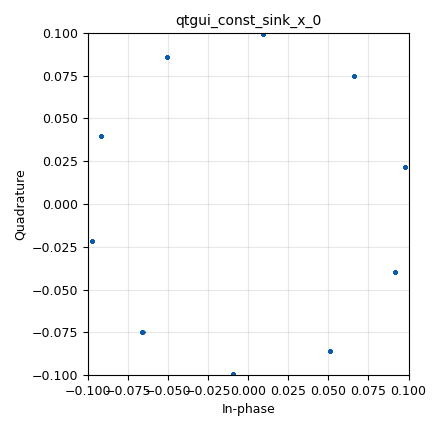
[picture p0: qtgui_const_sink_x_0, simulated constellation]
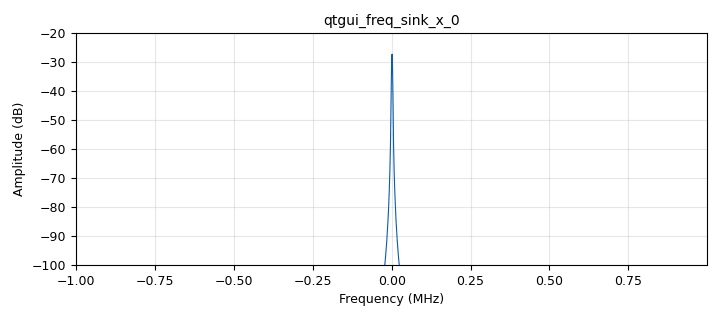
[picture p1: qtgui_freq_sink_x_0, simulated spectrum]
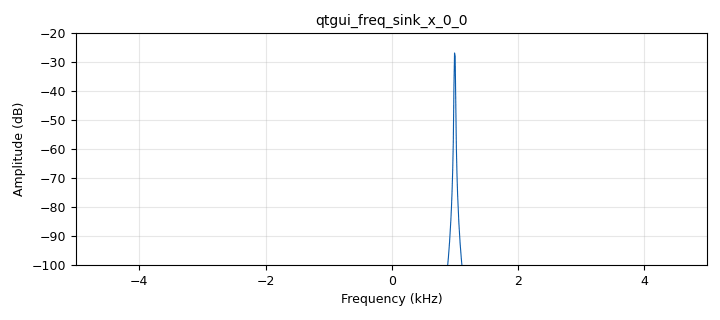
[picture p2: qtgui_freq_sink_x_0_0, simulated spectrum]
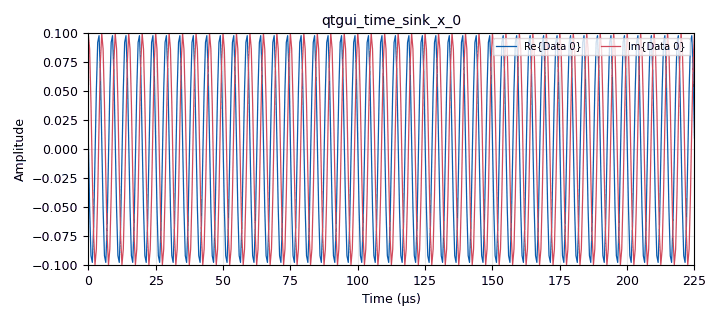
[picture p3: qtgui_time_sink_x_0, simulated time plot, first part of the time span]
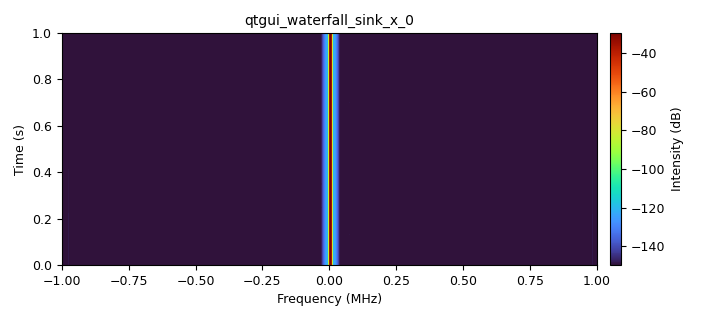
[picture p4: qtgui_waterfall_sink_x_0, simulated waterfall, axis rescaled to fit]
<?xml version='1.0' encoding='utf-8'?>
<?grc format='1' created='3.7.13'?>
<flow_graph>
<block>
<key>options</key>
<param><key>id</key><value>rx_narrow_host</value></param>
<param><key>author</key><value>Spiro Sarris</value></param>
<param><key>description</key><value>Observe wide spectrum. Select frequency. Record narrow channel</value></param>
<param><key>generate_options</key><value>qt_gui</value></param>
<param><key>title</key><value>RX Narrowband Receiver</value></param>
</block>
<block>
<key>variable</key>
<param><key>id</key><value>client_address</value></param>
<param><key>value</key><value>"192.168.10.184"</value></param>
</block>
<block>
<key>variable</key>
<param><key>id</key><value>data_seconds</value></param>
<param><key>value</key><value>30</value></param>
</block>
<block>
<key>variable</key>
<param><key>id</key><value>fft_size</value></param>
<param><key>value</key><value>1024</value></param>
</block>
<block>
<key>variable_qtgui_range</key>
<param><key>id</key><value>freq</value></param>
<param><key>value</key><value>407.2e6</value></param>
<param><key>gui_hint</key><value>tabs@0:0,0,1,1</value></param>
<param><key>label</key><value>RF Freq</value></param>
<param><key>min_len</key><value>100</value></param>
<param><key>orient</key><value>Qt.Vertical</value></param>
<param><key>start</key><value>100e6</value></param>
<param><key>step</key><value>1e6</value></param>
<param><key>stop</key><value>6000e6</value></param>
</block>
<block>
<key>variable_qtgui_range</key>
<param><key>id</key><value>freq_select</value></param>
<param><key>value</key><value>0</value></param>
<param><key>gui_hint</key><value>tabs@0:0,2,1,1</value></param>
<param><key>label</key><value>Frequency Select</value></param>
<param><key>min_len</key><value>100</value></param>
<param><key>orient</key><value>Qt.Vertical</value></param>
<param><key>start</key><value>-1*(samp_rate/2)</value></param>
<param><key>step</key><value>samp_rate/n_channels/10</value></param>
<param><key>stop</key><value>1*(samp_rate/2)</value></param>
</block>
<block>
<key>variable</key>
<param><key>id</key><value>n_channels</value></param>
<param><key>value</key><value>200</value></param>
</block>
<block>
<key>variable_qtgui_range</key>
<param><key>id</key><value>rx_gain</value></param>
<param><key>value</key><value>50</value></param>
<param><key>gui_hint</key><value>tabs@0:0,1,1,1</value></param>
<param><key>label</key><value>RX Gain</value></param>
<param><key>min_len</key><value>100</value></param>
<param><key>orient</key><value>Qt.Vertical</value></param>
<param><key>start</key><value>0</value></param>
<param><key>step</key><value>1</value></param>
<param><key>stop</key><value>80</value></param>
</block>
<block>
<key>variable</key>
<param><key>id</key><value>samp_rate</value></param>
<param><key>value</key><value>2e6</value></param>
</block>
<block>
<key>variable_tag_object</key>
<param><key>id</key><value>variable_tag_object_0</value></param>
<param><key>key</key><value>pmt.intern("key")</value></param>
<param><key>offset</key><value>0</value></param>
<param><key>src</key><value>pmt.intern("src")</value></param>
<param><key>value</key><value>pmt.intern("value")</value></param>
</block>
<block>
<key>variable</key>
<param><key>id</key><value>vec_length</value></param>
<param><key>value</key><value>1</value></param>
</block>
<block>
<key>analog_sig_source_x</key>
<param><key>id</key><value>analog_sig_source_x_0</value></param>
<param><key>amp</key><value>1</value></param>
<param><key>freq</key><value>-1*freq_select</value></param>
<param><key>offset</key><value>0</value></param>
<param><key>type</key><value>complex</value></param>
<param><key>samp_rate</key><value>samp_rate</value></param>
<param><key>waveform</key><value>analog.GR_COS_WAVE</value></param>
</block>
<block>
<key>analog_sig_source_x</key>
<param><key>id</key><value>analog_sig_source_x_1</value></param>
<param><key>amp</key><value>1e-1</value></param>
<param><key>freq</key><value>1000</value></param>
<param><key>offset</key><value>0</value></param>
<param><key>type</key><value>complex</value></param>
<param><key>samp_rate</key><value>samp_rate</value></param>
<param><key>waveform</key><value>analog.GR_COS_WAVE</value></param>
</block>
<block>
<key>blocks_file_sink</key>
<param><key>id</key><value>blocks_file_sink_0</value></param>
<param><key>file</key><value>"./data/"+datetime.datetime.utcnow().strftime("%Y%m%d_%H%M%S")+"_UTC.iq"</value></param>
<param><key>type</key><value>complex</value></param>
</block>
<block>
<key>blocks_head</key>
<param><key>id</key><value>blocks_head_0</value></param>
<param><key>num_items</key><value>int(data_seconds*samp_rate/n_channels)</value></param>
<param><key>type</key><value>complex</value></param>
</block>
<block>
<key>blocks_multiply_xx</key>
<param><key>id</key><value>blocks_multiply_xx_0</value></param>
<param><key>type</key><value>complex</value></param>
</block>
<block>
<key>blocks_throttle</key>
<param><key>id</key><value>blocks_throttle_0</value></param>
<param><key>samples_per_second</key><value>samp_rate</value></param>
<param><key>type</key><value>complex</value></param>
</block>
<block>
<key>import</key>
<param><key>id</key><value>import_0</value></param>
<param><key>import</key><value>import numpy as np</value></param>
</block>
<block>
<key>import</key>
<param><key>id</key><value>import_1</value></param>
<param><key>import</key><value>import ettus</value></param>
</block>
<block>
<key>import</key>
<param><key>id</key><value>import_2</value></param>
<param><key>import</key><value>import time</value></param>
</block>
<block>
<key>import</key>
<param><key>id</key><value>import_3</value></param>
<param><key>import</key><value>import datetime</value></param>
</block>
<block>
<key>qtgui_const_sink_x</key>
<param><key>id</key><value>qtgui_const_sink_x_0</value></param>
<param><key>gui_hint</key><value>tabs@0:2,1,1,1</value></param>
<param><key>grid</key><value>True</value></param>
<param><key>size</key><value>fft_size</value></param>
<param><key>type</key><value>complex</value></param>
<param><key>xmax</key><value>0.1</value></param>
<param><key>xmin</key><value>-0.1</value></param>
<param><key>ymax</key><value>0.1</value></param>
<param><key>ymin</key><value>-0.1</value></param>
</block>
<block>
<key>qtgui_freq_sink_x</key>
<param><key>id</key><value>qtgui_freq_sink_x_0</value></param>
<param><key>bw</key><value>samp_rate</value></param>
<param><key>fc</key><value>0</value></param>
<param><key>fftsize</key><value>fft_size</value></param>
<param><key>gui_hint</key><value>tabs@0:1,0,1,1</value></param>
<param><key>grid</key><value>True</value></param>
<param><key>legend</key><value>False</value></param>
<param><key>showports</key><value>True</value></param>
<param><key>type</key><value>complex</value></param>
<param><key>update_time</key><value>0.1</value></param>
<param><key>wintype</key><value>firdes.WIN_HANN</value></param>
<param><key>label</key><value>Amplitude</value></param>
<param><key>ymax</key><value>-20</value></param>
<param><key>ymin</key><value>-100</value></param>
</block>
<block>
<key>qtgui_freq_sink_x</key>
<param><key>id</key><value>qtgui_freq_sink_x_0_0</value></param>
<param><key>bw</key><value>samp_rate/n_channels</value></param>
<param><key>fc</key><value>0</value></param>
<param><key>fftsize</key><value>fft_size</value></param>
<param><key>gui_hint</key><value>tabs@0:1,1,1,1</value></param>
<param><key>grid</key><value>True</value></param>
<param><key>legend</key><value>False</value></param>
<param><key>showports</key><value>True</value></param>
<param><key>type</key><value>complex</value></param>
<param><key>update_time</key><value>0.1</value></param>
<param><key>wintype</key><value>firdes.WIN_HANN</value></param>
<param><key>label</key><value>Amplitude</value></param>
<param><key>ymax</key><value>-20</value></param>
<param><key>ymin</key><value>-100</value></param>
</block>
<block>
<key>qtgui_time_sink_x</key>
<param><key>id</key><value>qtgui_time_sink_x_0</value></param>
<param><key>gui_hint</key><value>tabs@0:1,2,1,1</value></param>
<param><key>color1</key><value>"blue"</value></param>
<param><key>label1</key><value></value></param>
<param><key>color2</key><value>"red"</value></param>
<param><key>label2</key><value></value></param>
<param><key>size</key><value>fft_size</value></param>
<param><key>srate</key><value>samp_rate</value></param>
<param><key>type</key><value>complex</value></param>
<param><key>ymax</key><value>0.1</value></param>
<param><key>ymin</key><value>-0.1</value></param>
</block>
<block>
<key>qtgui_waterfall_sink_x</key>
<param><key>id</key><value>qtgui_waterfall_sink_x_0</value></param>
<param><key>bw</key><value>samp_rate</value></param>
<param><key>fc</key><value>0</value></param>
<param><key>fftsize</key><value>fft_size</value></param>
<param><key>gui_hint</key><value>tabs@0:2,0,1,1</value></param>
<param><key>int_max</key><value>-40</value></param>
<param><key>int_min</key><value>-100</value></param>
<param><key>color1</key><value>3</value></param>
<param><key>showports</key><value>True</value></param>
<param><key>type</key><value>complex</value></param>
<param><key>wintype</key><value>firdes.WIN_BLACKMAN_hARRIS</value></param>
</block>
<block>
<key>rational_resampler_xxx</key>
<param><key>id</key><value>rational_resampler_xxx_0</value></param>
<param><key>decim</key><value>n_channels</value></param>
<param><key>interp</key><value>1</value></param>
<param><key>taps</key><value></value></param>
<param><key>type</key><value>ccc</value></param>
</block>
<block>
<key>qtgui_tab_widget</key>
<param><key>id</key><value>tabs</value></param>
<param><key>gui_hint</key><value>0,0,1,2</value></param>
<param><key>label0</key><value>Real-Time Display</value></param>
<param><key>num_tabs</key><value>1</value></param>
</block>
<block>
<key>xmlrpc_client</key>
<param><key>id</key><value>xmlrpc_client0</value></param>
<param><key>addr</key><value>str(client_address)</value></param>
<param><key>callback</key><value>set_rx_gain</value></param>
<param><key>port</key><value>30000</value></param>
<param><key>variable</key><value>rx_gain</value></param>
</block>
<block>
<key>xmlrpc_client</key>
<param><key>id</key><value>xmlrpc_client0_0</value></param>
<param><key>addr</key><value>str(client_address)</value></param>
<param><key>callback</key><value>set_freq</value></param>
<param><key>port</key><value>30000</value></param>
<param><key>variable</key><value>freq</value></param>
</block>
<block>
<key>zeromq_pull_source</key>
<param><key>id</key><value>zeromq_pull_source_1</value></param>
<param><key>address</key><value>tcp://192.168.10.184:9998</value></param>
<param><key>_enabled</key><value>0</value></param>
<param><key>type</key><value>complex</value></param>
<param><key>timeout</key><value>100</value></param>
<param><key>vlen</key><value>vec_length</value></param>
</block>
<connection><source_block_id>analog_sig_source_x_0</source_block_id><sink_block_id>blocks_multiply_xx_0</sink_block_id><source_key>0</source_key><sink_key>1</sink_key></connection>
<connection><source_block_id>analog_sig_source_x_1</source_block_id><sink_block_id>blocks_throttle_0</sink_block_id><source_key>0</source_key><sink_key>0</sink_key></connection>
<connection><source_block_id>blocks_head_0</source_block_id><sink_block_id>blocks_file_sink_0</sink_block_id><source_key>0</source_key><sink_key>0</sink_key></connection>
<connection><source_block_id>blocks_multiply_xx_0</source_block_id><sink_block_id>rational_resampler_xxx_0</sink_block_id><source_key>0</source_key><sink_key>0</sink_key></connection>
<connection><source_block_id>blocks_throttle_0</source_block_id><sink_block_id>blocks_multiply_xx_0</sink_block_id><source_key>0</source_key><sink_key>0</sink_key></connection>
<connection><source_block_id>blocks_throttle_0</source_block_id><sink_block_id>qtgui_freq_sink_x_0</sink_block_id><source_key>0</source_key><sink_key>0</sink_key></connection>
<connection><source_block_id>blocks_throttle_0</source_block_id><sink_block_id>qtgui_waterfall_sink_x_0</sink_block_id><source_key>0</source_key><sink_key>0</sink_key></connection>
<connection><source_block_id>rational_resampler_xxx_0</source_block_id><sink_block_id>blocks_head_0</sink_block_id><source_key>0</source_key><sink_key>0</sink_key></connection>
<connection><source_block_id>rational_resampler_xxx_0</source_block_id><sink_block_id>qtgui_const_sink_x_0</sink_block_id><source_key>0</source_key><sink_key>0</sink_key></connection>
<connection><source_block_id>rational_resampler_xxx_0</source_block_id><sink_block_id>qtgui_freq_sink_x_0_0</sink_block_id><source_key>0</source_key><sink_key>0</sink_key></connection>
<connection><source_block_id>rational_resampler_xxx_0</source_block_id><sink_block_id>qtgui_time_sink_x_0</sink_block_id><source_key>0</source_key><sink_key>0</sink_key></connection>
<connection><source_block_id>zeromq_pull_source_1</source_block_id><sink_block_id>blocks_throttle_0</sink_block_id><source_key>0</source_key><sink_key>0</sink_key></connection>
</flow_graph>
